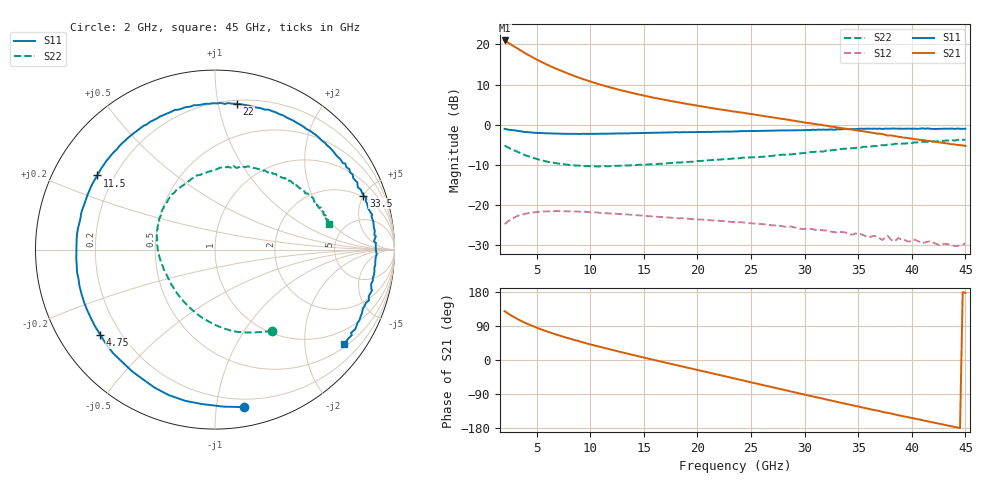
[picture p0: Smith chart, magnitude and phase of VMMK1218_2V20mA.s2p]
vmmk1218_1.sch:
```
<Qucs Schematic 0.0.18>
<Properties>
  <View=0,0,800,1532,1,84,0>
  <Grid=10,10,1>
  <DataSet=vmmk1218_1.dat>
  <DataDisplay=vmmk1218_1.dpl>
  <OpenDisplay=1>
  <Script=vmmk1218_1.m>
  <RunScript=0>
  <showFrame=0>
  <FrameText0=Title>
  <FrameText1=Drawn By:>
  <FrameText2=Date:>
  <FrameText3=Revision:>
</Properties>
<Symbol>
</Symbol>
<Components>
  <Pac P1 1 140 150 18 -26 0 1 "1" 1 "50 Ohm" 1 "0 dBm" 0 "1 GHz" 0 "26.85" 0>
  <GND * 1 140 180 0 0 0 0>
  <SPfile X1 1 350 120 -26 -53 0 0 "VMMK1218_2V20mA.s2p" 1 "rectangular" 0 "linear" 0 "open" 0 "2" 0>
  <.SP SP3 0 90 860 0 63 0 0 "lin" 1 "100MHz" 1 "2000MHz" 1 "200" 1 "yes" 0 "1" 0 "2" 0 "no" 0 "no" 0>
  <Eqn Eqn1 1 290 540 -28 15 0 0 "K=StabFactor(S)" 1 "Fmindb=w2dbm(Fmin)-30" 1 "Fdb=w2dbm(F)-30" 1 "yes" 0>
  <.SP SP1 0 90 540 0 63 0 0 "lin" 1 "0.03 GHz" 1 "30 GHz" 1 "200" 1 "yes" 0 "1" 0 "2" 0 "no" 0 "no" 0>
  <Eqn Eqn2 1 300 720 -28 15 0 0 "GA=GaCircle(S,linspace(1,20,20))" 1 "GP=GpCircle(S,linspace(1,20,20))" 1 "SL=StabCircleL(S)" 1 "SG=StabCircleS(S)" 1 "NF=NoiseCircle(Sopt,Fmin,Rn,[Fmin,1.2, 1.25, 1.3,1.4,1.5])" 1 "yes" 0>
  <MVIA MS4 1 300 300 -123 0 1 2 "RO4350_1" 1 "0.254 mm" 1 "26.85" 0>
  <Pac P2 1 690 150 18 -26 0 1 "2" 1 "50 Ohm" 1 "0 dBm" 0 "1 GHz" 0 "26.85" 0>
  <GND * 1 690 170 0 0 0 0>
  <MVIA MS1 1 300 210 -123 0 1 2 "RO4350_1" 1 "0.254 mm" 1 "26.85" 0>
  <.SP SP2 1 90 720 0 63 0 0 "const" 1 "0.03 GHz" 0 "12 GHz" 0 "[11GHz]" 1 "yes" 0 "1" 0 "2" 0 "no" 0 "no" 0>
  <SUBST RO4350_1 1 610 550 -30 24 0 0 "3.48" 1 "0.254 mm" 1 "35 um" 1 "0.004" 1 "0.022e-6" 1 "1.4e-6" 1>
  <TLIN Line1 1 350 180 20 -26 0 1 "47 Ohm" 1 "0.317 mm" 1 "0 dB" 0 "26.85" 0>
  <TLIN Line2 1 350 270 20 -26 0 1 "47 Ohm" 1 "0.636 mm" 1 "0 dB" 0 "26.85" 0>
  <MVIA MS6 1 540 210 20 0 0 0 "RO4350_1" 1 "0.254 mm" 1 "26.85" 0>
  <MVIA MS8 1 540 300 20 0 0 0 "RO4350_1" 1 "0.254 mm" 1 "26.85" 0>
  <GND * 0 350 150 0 0 0 3>
  <TLIN Line3 1 490 180 20 -26 1 3 "47 Ohm" 0 "0.317 mm" 0 "0 dB" 0 "26.85" 0>
  <TLIN Line4 1 490 270 20 -26 0 1 "47 Ohm" 0 "0.636 mm" 0 "0 dB" 0 "26.85" 0>
</Components>
<Wires>
  <140 120 320 120 "" 0 0 0 "">
  <320 210 350 210 "" 0 0 0 "">
  <350 210 350 240 "" 0 0 0 "">
  <320 300 350 300 "" 0 0 0 "">
  <380 120 690 120 "" 0 0 0 "">
  <690 170 690 180 "" 0 0 0 "">
  <350 150 490 150 "" 0 0 0 "">
  <490 210 520 210 "" 0 0 0 "">
  <490 210 490 240 "" 0 0 0 "">
  <490 300 520 300 "" 0 0 0 "">
</Wires>
<Diagrams>
</Diagrams>
<Paintings>
  <Text 260 40 14 #000000 0 "S-Parameter Check of Stage-1 FET">
  <Text 350 710 12 #ff0000 0 "Deactivate, if simulation other than\nSP2 is used">
</Paintings>
```
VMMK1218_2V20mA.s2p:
!Mon 10/Sep/2007 11:11:59
!Comment:  300um GSG cal using PCB - TRL cal standard, VMMK1218
! Vd(V)  IVd(mA)  Vg(V)  IVg(mA)
!2  20.29  0.5799  0
!Freq(GHZ)  S11(mag)  S11(ang)  S21(mag)  S21(ang)  S12(mag)  S12(ang)  S22(mag)  S22(ang)
#  GHZ  S  MA  R  50
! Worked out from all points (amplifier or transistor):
!   173 points, 2 GHz to 45 GHz, reference 50 ohm
!   highest |S21| = 21.0 dB at 2 GHz (marker M1)
!   |S21| within 3 dB of that: start of sweep to 3.814 GHz
!   unconditionally stable (mu >= 1): 18.24 GHz to 18.38 GHz; 18.78 GHz to end of sweep
!   at 9 GHz: K = 0.50, MSG = 16.6 dB, |S12| = -21.6 dB
!   at 23.5 GHz: K = 1.26, MAG = 10.7 dB, |S12| = -24.2 dB
!   at 45 GHz: K = 2.60, MAG = 5.1 dB, |S12| = -29.4 dB
!   lowest NFmin = 0.17 dB at 2 GHz
!   S11 on the Smith chart (normalised r, x): 2 GHz: 0.14, -1.19; 4.75 GHz: 0.13, -0.33; 11.5 GHz: 0.14, +0.28; 22 GHz: 0.23, +1.13; 33.5 GHz: 1.88, +4.99; 45 GHz: 0.57, -2.97
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2  0.8921 -79.6  11.22 128.9  0.058 43.8  0.5531 -54.9
3.25  0.8395 -113.6  8.83 107.5  0.0739 25.0  0.4596 -79.0
4.75  0.7965 -143.3  6.753 87.9  0.0815 9.3  0.3844 -101.3
6  0.7836 -161.7  5.574 74.8  0.0837 -0.7  0.3476 -115.6
7.5  0.7725 -179.1  4.564 61.1  0.0841 -10.9  0.3238 -130.1
11.5  0.776 147.8  3.016 30.4  0.0793 -31.4  0.3055 -160.7
16.25  0.7987 116.8  2.132 -1.9  0.0717 -51.0  0.3244 172.1
22  0.8216 81.6  1.565 -39.2  0.064 -73.0  0.3681 141.0
23.5  0.828 72.2  1.457 -49.1  0.0618 -79.0  0.3819 132.3
33.5  0.8794 20.0  0.9084 -113.5  0.0464 -126.1  0.5012 67.0
45  0.893 -36.1  0.5464 177.1  0.0337 158.3  0.6512 12.7
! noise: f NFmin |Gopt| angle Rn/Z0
2  0.17  0.727  30.9  0.1
3  0.24  0.624  46.2  0.1
5  0.38  0.457  75.8  0.08
7  0.51  0.344  104.1  0.07
8  0.58  0.307  117.8  0.07
10  0.72  0.273  144.3  0.06
12  0.85  0.292  169.6  0.06
13  0.92  0.322  -178.2  0.06
15  1.05  0.421  -154.8  0.06
17  1.19  0.573  -132.6  0.08
